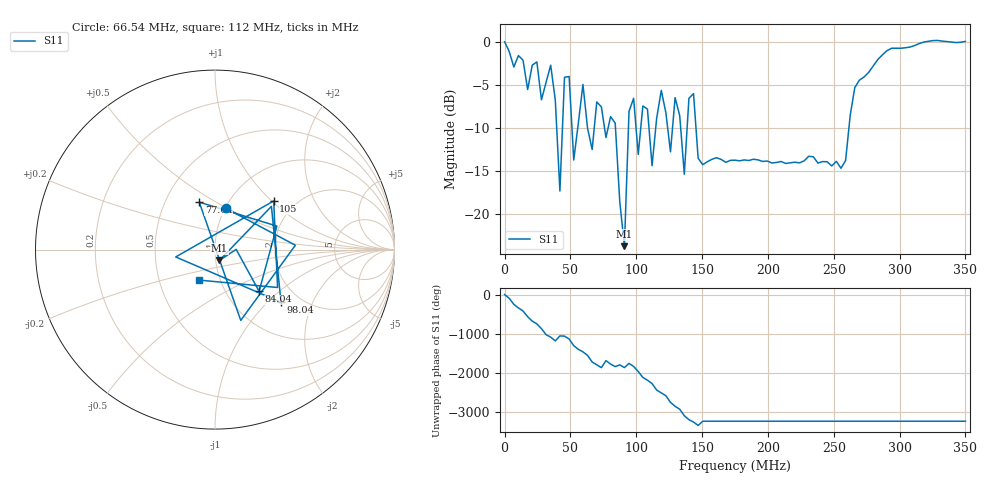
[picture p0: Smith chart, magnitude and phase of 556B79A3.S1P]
!File created by NanoVNA
# Hz S RI R 50
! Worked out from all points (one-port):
!   101 points, 50 kHz to 350 MHz, reference 50 ohm
!   lowest |S11| = -23.7 dB at 91.04 MHz (marker M1), VSWR 1.14, Z = 52.1 - j6.35 ohm
!   |S11| at or under -10 dB: 63.03 MHz to 68.12 MHz (5.084 MHz wide, 7.75 % of centre); 84.26 MHz to 94.1 MHz (9.84 MHz wide, 11 % of centre); 145.4 MHz to 261.5 MHz (116.1 MHz wide, 57.1 % of centre) (the widest 3 of 10)
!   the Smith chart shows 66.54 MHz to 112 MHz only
!   S11 on the Smith chart (normalised r, x): 66.54 MHz: 1.01, +0.49; 77.04 MHz: 0.74, +0.42; 84.04 MHz: 1.42, -0.75; 98.04 MHz: 1.60, -1.21; 105 MHz: 1.56, +1.03; 112 MHz: 0.79, -0.28
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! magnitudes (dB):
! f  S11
! 50 kHz  0.0
! 35.05 MHz  -2.7
! 42.04 MHz  -17.3
! 45.54 MHz  -4.1
! 52.54 MHz  -13.7
! 59.54 MHz  -4.9
! 66.54 MHz  -12.5
! 77.04 MHz  -11.1
! 84.04 MHz  -9.4
! 87.54 MHz  -18.6
! 91.04 MHz  -23.7
! 94.54 MHz  -8.0
! 98.04 MHz  -6.5
! 101.5 MHz  -13.0
! 105 MHz  -7.4
! 112 MHz  -14.4
! 119 MHz  -5.6
! 126 MHz  -12.8
! 133 MHz  -8.6
! 136.5 MHz  -15.3
! 143.5 MHz  -6.0
! 147 MHz  -13.5
! 175 MHz  -13.7
! 220.5 MHz  -14.0
! 255.5 MHz  -14.7
! 262.5 MHz  -8.5
! 308 MHz  -0.6
! 350 MHz  0.1
